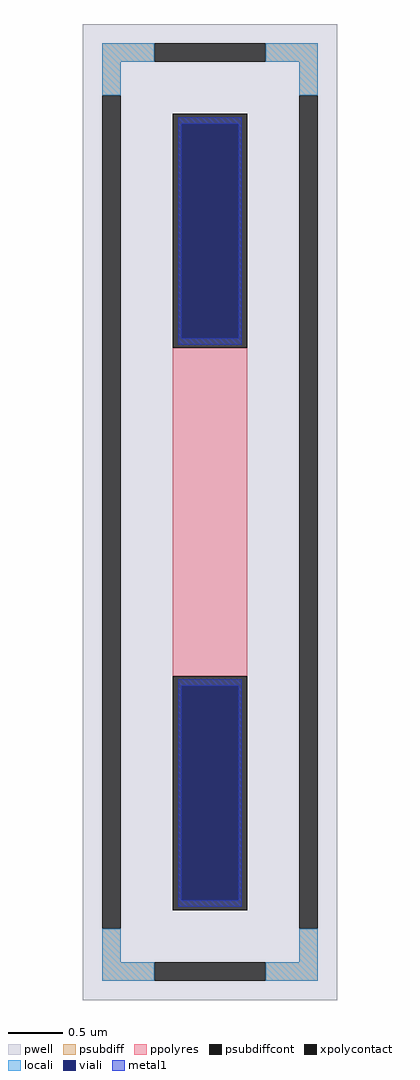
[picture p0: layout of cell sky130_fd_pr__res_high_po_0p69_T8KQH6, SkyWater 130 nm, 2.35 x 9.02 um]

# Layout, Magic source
magic
tech sky130A
magscale 1 2
<< pwell >>
rect -235 -902 235 902
<< psubdiff >>
rect -199 832 -103 866
rect 103 832 199 866
rect -199 770 -165 832
rect 165 770 199 832
rect -199 -832 -165 -770
rect 165 -832 199 -770
rect -199 -866 -103 -832
rect 103 -866 199 -832
<< psubdiffcont >>
rect -103 832 103 866
rect -199 -770 -165 770
rect 165 -770 199 770
rect -103 -866 103 -832
<< xpolycontact >>
rect -69 304 69 736
rect -69 -736 69 -304
<< ppolyres >>
rect -69 -304 69 304
<< locali >>
rect -199 832 -103 866
rect 103 832 199 866
rect -199 770 -165 832
rect 165 770 199 832
rect -199 -832 -165 -770
rect 165 -832 199 -770
rect -199 -866 -103 -832
rect 103 -866 199 -832
<< viali >>
rect -53 321 53 718
rect -53 -718 53 -321
<< metal1 >>
rect -59 718 59 730
rect -59 321 -53 718
rect 53 321 59 718
rect -59 309 59 321
rect -59 -321 59 -309
rect -59 -718 -53 -321
rect 53 -718 59 -321
rect -59 -730 59 -718
<< properties >>
string FIXED_BBOX -182 -849 182 849
string gencell sky130_fd_pr__res_high_po_0p69
string library sky130
string parameters w 0.69 l 3.20 m 1 nx 1 wmin 0.690 lmin 0.50 rho 319.8 val 2.047k dummy 0 dw 0.0 term 194.82 sterm 0.0 caplen 0 guard 1 glc 1 grc 1 gtc 1 gbc 1 compatible {sky130_fd_pr__res_high_po_0p35  sky130_fd_pr__res_high_po_0p69 sky130_fd_pr__res_high_po_1p41  sky130_fd_pr__res_high_po_2p85 sky130_fd_pr__res_high_po_5p73} snake 0 full_metal 1 wmax 0.690 n_guard 0 hv_guard 0 vias 1 viagb 0 viagt 0 viagl 0 viagr 0
<< end >>
